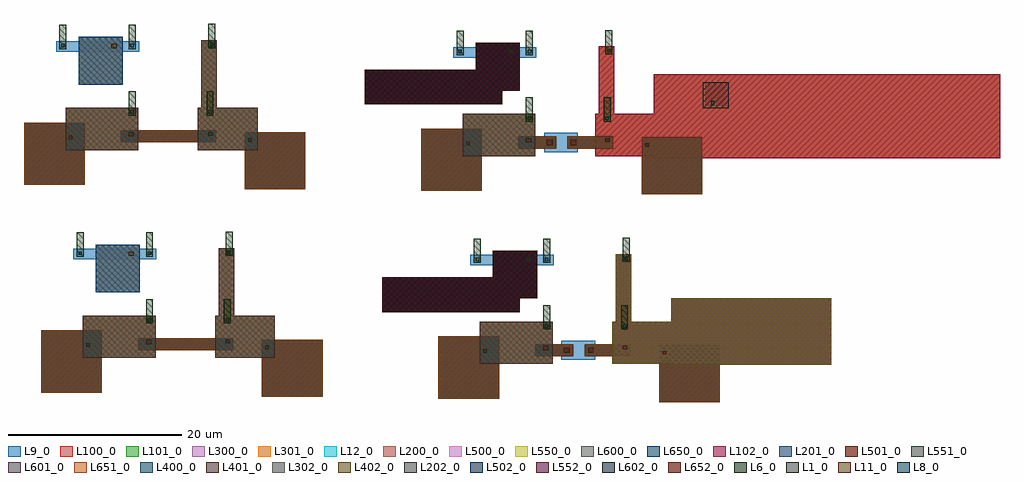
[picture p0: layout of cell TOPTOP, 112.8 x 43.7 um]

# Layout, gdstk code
import gdstk
lib = gdstk.Library(unit=1e-6, precision=1e-09)
def R(c, l, rs):  # rectangles x0, y0, x1, y1
    for r in rs: c.add(gdstk.rectangle(r[:2], r[2:], *l))
def P(c, l, *ps):  # polygons
    for p in ps: c.add(gdstk.Polygon(p, *l))
L1_0 = (1, 0)
L6_0 = (6, 0)
L8_0 = (8, 0)
L9_0 = (9, 0)
L11_0 = (11, 0)
L12_0 = (12, 0)
L100_0 = (100, 0)
L101_0 = (101, 0)
L102_0 = (102, 0)
L200_0 = (200, 0)
L201_0 = (201, 0)
L202_0 = (202, 0)
L300_0 = (300, 0)
L301_0 = (301, 0)
L302_0 = (302, 0)
L400_0 = (400, 0)
L401_0 = (401, 0)
L402_0 = (402, 0)
L500_0 = (500, 0)
L501_0 = (501, 0)
L502_0 = (502, 0)
L550_0 = (550, 0)
L551_0 = (551, 0)
L552_0 = (552, 0)
L600_0 = (600, 0)
L601_0 = (601, 0)
L602_0 = (602, 0)
L650_0 = (650, 0)
L651_0 = (651, 0)
L652_0 = (652, 0)

trans = lib.new_cell('TRANS')
R(trans, L6_0, [(0,0,0.8,2.8)])
R(trans, L8_0, [(0.2,0.2,0.6,0.6)])

top = lib.new_cell('TOP')
R(top, L9_0, [(38.6,-4.7,47,0.2), (53.9,-4.7,60.8,0.2), (48,-4.2,51.9,-2), (-7.3,-4,1.1,0.9), (8,-4,14.9,0.9), (54.3,-1.2,56.1,8), (8.4,-0.5,10.2,8.7), (37.5,6.7,47.1,7.9), (-8.4,7.4,1.2,8.6)])
R(top, L11_0, [(59.7,-3.6,60.1,-3.2), (39,-3.4,39.4,-3), (48.3,-3.4,49,-2.8), (51.1,-3.4,51.7,-2.8), (45.9,-3.1,46.5,-2.6), (13.8,-3,14.2,-2.6), (55.1,-3,55.6,-2.6), (-6.9,-2.7,-6.5,-2.3), (0,-2.4,0.6,-1.9), (9.2,-2.3,9.7,-1.9), (43.9,7.1,44.5,7.6), (-2,7.8,-1.4,8.3)])
R(top, L12_0, [(59.3,-9.1,66.3,-2.5), (33.8,-8.7,40.8,-1.5), (13.4,-8.5,20.4,-1.9), (-12.1,-8,-5.1,-0.8), (45,-3.8,49.4,-2.4), (50.7,-3.8,56,-2.4), (-0.9,-3.1,10.1,-1.7), (27.3,1.3,43.2,5.3), (40.1,2.9,45.2,8.4), (-5.8,3.6,-0.7,9.1)])
R(top, L100_0, [(38.6,-4.7,47,0.2), (-7.3,-4,1.1,0.9)])
P(top, L100_0, [(8,-4),(8,0.9),(8.4,0.9),(8.4,8.7),(10.2,8.7),(10.2,0.9),(14.9,0.9),(14.9,-4)])
R(top, L101_0, [(38.6,-4.7,47,0.2), (-7.3,-4,1.1,0.9)])
P(top, L101_0, [(8,-4),(8,0.9),(8.4,0.9),(8.4,8.7),(10.2,8.7),(10.2,0.9),(14.9,0.9),(14.9,-4)])
R(top, L200_0, [(13.4,-8.5,20.4,-1.9), (-12.1,-8,-5.1,-0.8), (-0.9,-3.1,10.1,-1.7), (-5.8,3.6,-0.7,9.1)])
P(top, L200_0, [(27.3,1.3),(27.3,5.3),(40.1,5.3),(40.1,8.4),(45.2,8.4),(45.2,2.9),(43.2,2.9),(43.2,1.3)])
R(top, L201_0, [(13.4,-8.5,20.4,-1.9), (-12.1,-8,-5.1,-0.8), (-0.9,-3.1,10.1,-1.7)])
P(top, L201_0, [(27.3,1.3),(27.3,5.3),(40.1,5.3),(40.1,8.4),(45.2,8.4),(45.2,2.9),(43.2,2.9),(43.2,1.3)])
P(top, L202_0, [(27.3,1.3),(27.3,5.3),(40.1,5.3),(40.1,8.4),(45.2,8.4),(45.2,2.9),(43.2,2.9),(43.2,1.3)])
R(top, L300_0, [(38.6,-4.7,47,0.2), (-7.3,-4,1.1,0.9)])
P(top, L300_0, [(8,-4),(8,0.9),(8.4,0.9),(8.4,8.7),(10.2,8.7),(10.2,0.9),(14.9,0.9),(14.9,-4)])
R(top, L301_0, [(38.6,-4.7,47,0.2), (-7.3,-4,1.1,0.9)])
P(top, L301_0, [(8,-4),(8,0.9),(8.4,0.9),(8.4,8.7),(10.2,8.7),(10.2,0.9),(14.9,0.9),(14.9,-4)])
R(top, L400_0, [(38.6,-4.7,47,0.2), (-7.3,-4,1.1,0.9)])
P(top, L400_0, [(8,-4),(8,0.9),(8.4,0.9),(8.4,8.7),(10.2,8.7),(10.2,0.9),(14.9,0.9),(14.9,-4)])
R(top, L401_0, [(38.6,-4.7,47,0.2), (-7.3,-4,1.1,0.9)])
P(top, L401_0, [(8,-4),(8,0.9),(8.4,0.9),(8.4,8.7),(10.2,8.7),(10.2,0.9),(14.9,0.9),(14.9,-4)])
R(top, L500_0, [(13.4,-8.5,20.4,-1.9), (-12.1,-8,-5.1,-0.8), (-0.9,-3.1,10.1,-1.7), (-5.8,3.6,-0.7,9.1)])
P(top, L500_0, [(27.3,1.3),(27.3,5.3),(40.1,5.3),(40.1,8.4),(45.2,8.4),(45.2,2.9),(43.2,2.9),(43.2,1.3)])
R(top, L501_0, [(13.4,-8.5,20.4,-1.9), (-12.1,-8,-5.1,-0.8), (-0.9,-3.1,10.1,-1.7)])
P(top, L501_0, [(27.3,1.3),(27.3,5.3),(40.1,5.3),(40.1,8.4),(45.2,8.4),(45.2,2.9),(43.2,2.9),(43.2,1.3)])
P(top, L502_0, [(27.3,1.3),(27.3,5.3),(40.1,5.3),(40.1,8.4),(45.2,8.4),(45.2,2.9),(43.2,2.9),(43.2,1.3)])
R(top, L550_0, [(13.4,-8.5,20.4,-1.9), (-12.1,-8,-5.1,-0.8), (-0.9,-3.1,10.1,-1.7), (-5.8,3.6,-0.7,9.1)])
P(top, L550_0, [(27.3,1.3),(27.3,5.3),(40.1,5.3),(40.1,8.4),(45.2,8.4),(45.2,2.9),(43.2,2.9),(43.2,1.3)])
R(top, L551_0, [(13.4,-8.5,20.4,-1.9), (-12.1,-8,-5.1,-0.8), (-0.9,-3.1,10.1,-1.7)])
P(top, L551_0, [(27.3,1.3),(27.3,5.3),(40.1,5.3),(40.1,8.4),(45.2,8.4),(45.2,2.9),(43.2,2.9),(43.2,1.3)])
P(top, L552_0, [(27.3,1.3),(27.3,5.3),(40.1,5.3),(40.1,8.4),(45.2,8.4),(45.2,2.9),(43.2,2.9),(43.2,1.3)])
R(top, L600_0, [(13.4,-8.5,20.4,-1.9), (-12.1,-8,-5.1,-0.8), (-0.9,-3.1,10.1,-1.7), (-5.8,3.6,-0.7,9.1)])
P(top, L600_0, [(27.3,1.3),(27.3,5.3),(40.1,5.3),(40.1,8.4),(45.2,8.4),(45.2,2.9),(43.2,2.9),(43.2,1.3)])
R(top, L601_0, [(13.4,-8.5,20.4,-1.9), (-12.1,-8,-5.1,-0.8), (-0.9,-3.1,10.1,-1.7)])
P(top, L601_0, [(27.3,1.3),(27.3,5.3),(40.1,5.3),(40.1,8.4),(45.2,8.4),(45.2,2.9),(43.2,2.9),(43.2,1.3)])
P(top, L602_0, [(27.3,1.3),(27.3,5.3),(40.1,5.3),(40.1,8.4),(45.2,8.4),(45.2,2.9),(43.2,2.9),(43.2,1.3)])
R(top, L650_0, [(13.4,-8.5,20.4,-1.9), (-12.1,-8,-5.1,-0.8), (-0.9,-3.1,10.1,-1.7), (-5.8,3.6,-0.7,9.1)])
P(top, L650_0, [(27.3,1.3),(27.3,5.3),(40.1,5.3),(40.1,8.4),(45.2,8.4),(45.2,2.9),(43.2,2.9),(43.2,1.3)])
R(top, L651_0, [(13.4,-8.5,20.4,-1.9), (-12.1,-8,-5.1,-0.8), (-0.9,-3.1,10.1,-1.7)])
P(top, L651_0, [(27.3,1.3),(27.3,5.3),(40.1,5.3),(40.1,8.4),(45.2,8.4),(45.2,2.9),(43.2,2.9),(43.2,1.3)])
P(top, L652_0, [(27.3,1.3),(27.3,5.3),(40.1,5.3),(40.1,8.4),(45.2,8.4),(45.2,2.9),(43.2,2.9),(43.2,1.3)])
top.add(gdstk.Reference(trans, (0,0)))
top.add(gdstk.Reference(trans, (9,0)))
top.add(gdstk.Reference(trans, (0,7.7)))
top.add(gdstk.Reference(trans, (9.2,7.8)))
top.add(gdstk.Reference(trans, (-8,7.7)))
top.add(gdstk.Reference(trans, (45.9,-0.7)))
top.add(gdstk.Reference(trans, (54.9,-0.7)))
top.add(gdstk.Reference(trans, (45.9,7)))
top.add(gdstk.Reference(trans, (55.1,7.1)))
top.add(gdstk.Reference(trans, (37.9,7)))

toptop = lib.new_cell('TOPTOP')
R(toptop, L1_0, [(65.85,25.45,68.85,28.45)])
R(toptop, L8_0, [(66.8,25.8,67.2,26.3)])
R(toptop, L9_0, [(62.2,-4.2,80.7,3.5), (60.2,19.7,100.2,29.4)])
P(toptop, L100_0, [(60.2,19.7),(60.2,19.9),(53.4,19.9),(53.4,24.8),(53.8,24.8),(53.8,32.6),(55.6,32.6),(55.6,24.8),(60.2,24.8),(60.2,29.4),(100.2,29.4),(100.2,19.7)],
  [(62.2,-4.2),(62.2,-4.1),(55.4,-4.1),(55.4,0.8),(55.8,0.8),(55.8,8.6),(57.6,8.6),(57.6,0.8),(62.2,0.8),(62.2,3.5),(80.7,3.5),(80.7,-4.2)])
P(toptop, L101_0, [(60.2,19.7),(60.2,19.9),(53.4,19.9),(53.4,24.8),(53.8,24.8),(53.8,32.6),(55.6,32.6),(55.6,24.8),(60.2,24.8),(60.2,29.4),(100.2,29.4),(100.2,19.7)],
  [(62.2,-4.2),(62.2,-4.1),(55.4,-4.1),(55.4,0.8),(55.8,0.8),(55.8,8.6),(57.6,8.6),(57.6,0.8),(62.2,0.8),(62.2,3.5),(80.7,3.5),(80.7,-4.2)])
P(toptop, L102_0, [(60.2,19.7),(60.2,19.9),(53.4,19.9),(53.4,24.8),(53.8,24.8),(53.8,32.6),(55.6,32.6),(55.6,24.8),(60.2,24.8),(60.2,29.4),(100.2,29.4),(100.2,19.7)],
  [(62.2,-4.2),(62.2,-4.1),(55.4,-4.1),(55.4,0.8),(55.8,0.8),(55.8,8.6),(57.6,8.6),(57.6,0.8),(62.2,0.8),(62.2,3.5),(80.7,3.5),(80.7,-4.2)])
R(toptop, L200_0, [(60.8,-8.5,67.8,-1.9), (35.3,-8.1,42.3,-0.9), (46.5,-3.2,50.9,-1.8), (52.2,-3.2,57.5,-1.8), (58.8,15.5,65.8,22.1), (33.3,15.9,40.3,23.1), (44.5,20.8,48.9,22.2), (50.2,20.8,55.5,22.2)])
R(toptop, L201_0, [(60.8,-8.5,67.8,-1.9), (35.3,-8.1,42.3,-0.9), (46.5,-3.2,50.9,-1.8), (52.2,-3.2,57.5,-1.8), (58.8,15.5,65.8,22.1), (33.3,15.9,40.3,23.1), (44.5,20.8,48.9,22.2), (50.2,20.8,55.5,22.2)])
P(toptop, L300_0, [(60.2,19.7),(60.2,19.9),(53.4,19.9),(53.4,24.8),(53.8,24.8),(53.8,32.6),(55.6,32.6),(55.6,24.8),(60.2,24.8),(60.2,29.4),(100.2,29.4),(100.2,19.7)],
  [(62.2,-4.2),(62.2,-4.1),(55.4,-4.1),(55.4,0.8),(55.8,0.8),(55.8,8.6),(57.6,8.6),(57.6,0.8),(62.2,0.8),(62.2,3.5),(80.7,3.5),(80.7,-4.2)])
P(toptop, L301_0, [(60.2,19.7),(60.2,19.9),(53.4,19.9),(53.4,24.8),(53.8,24.8),(53.8,32.6),(55.6,32.6),(55.6,24.8),(60.2,24.8),(60.2,29.4),(100.2,29.4),(100.2,19.7)],
  [(62.2,-4.2),(62.2,-4.1),(55.4,-4.1),(55.4,0.8),(55.8,0.8),(55.8,8.6),(57.6,8.6),(57.6,0.8),(62.2,0.8),(62.2,3.5),(80.7,3.5),(80.7,-4.2)])
P(toptop, L302_0, [(62.2,-4.2),(62.2,-4.1),(55.4,-4.1),(55.4,0.8),(55.8,0.8),(55.8,8.6),(57.6,8.6),(57.6,0.8),(62.2,0.8),(62.2,3.5),(80.7,3.5),(80.7,-4.2)])
P(toptop, L400_0, [(62.2,-4.2),(62.2,-4.1),(55.4,-4.1),(55.4,0.8),(55.8,0.8),(55.8,8.6),(57.6,8.6),(57.6,0.8),(62.2,0.8),(62.2,3.5),(80.7,3.5),(80.7,-4.2)])
P(toptop, L401_0, [(62.2,-4.2),(62.2,-4.1),(55.4,-4.1),(55.4,0.8),(55.8,0.8),(55.8,8.6),(57.6,8.6),(57.6,0.8),(62.2,0.8),(62.2,3.5),(80.7,3.5),(80.7,-4.2)])
P(toptop, L402_0, [(62.2,-4.2),(62.2,-4.1),(55.4,-4.1),(55.4,0.8),(55.8,0.8),(55.8,8.6),(57.6,8.6),(57.6,0.8),(62.2,0.8),(62.2,3.5),(80.7,3.5),(80.7,-4.2)])
R(toptop, L500_0, [(60.8,-8.5,67.8,-1.9), (35.3,-8.1,42.3,-0.9), (46.5,-3.2,50.9,-1.8), (52.2,-3.2,57.5,-1.8), (58.8,15.5,65.8,22.1), (33.3,15.9,40.3,23.1), (44.5,20.8,48.9,22.2), (50.2,20.8,55.5,22.2)])
R(toptop, L501_0, [(60.8,-8.5,67.8,-1.9), (35.3,-8.1,42.3,-0.9), (46.5,-3.2,50.9,-1.8), (52.2,-3.2,57.5,-1.8), (58.8,15.5,65.8,22.1), (33.3,15.9,40.3,23.1), (44.5,20.8,48.9,22.2), (50.2,20.8,55.5,22.2)])
R(toptop, L550_0, [(60.8,-8.5,67.8,-1.9), (35.3,-8.1,42.3,-0.9), (46.5,-3.2,50.9,-1.8), (52.2,-3.2,57.5,-1.8), (58.8,15.5,65.8,22.1), (33.3,15.9,40.3,23.1), (44.5,20.8,48.9,22.2), (50.2,20.8,55.5,22.2)])
R(toptop, L551_0, [(60.8,-8.5,67.8,-1.9), (35.3,-8.1,42.3,-0.9), (46.5,-3.2,50.9,-1.8), (52.2,-3.2,57.5,-1.8), (58.8,15.5,65.8,22.1), (33.3,15.9,40.3,23.1), (44.5,20.8,48.9,22.2), (50.2,20.8,55.5,22.2)])
R(toptop, L600_0, [(60.8,-8.5,67.8,-1.9), (35.3,-8.1,42.3,-0.9), (46.5,-3.2,50.9,-1.8), (52.2,-3.2,57.5,-1.8), (58.8,15.5,65.8,22.1), (33.3,15.9,40.3,23.1), (44.5,20.8,48.9,22.2), (50.2,20.8,55.5,22.2)])
R(toptop, L601_0, [(60.8,-8.5,67.8,-1.9), (35.3,-8.1,42.3,-0.9), (46.5,-3.2,50.9,-1.8), (52.2,-3.2,57.5,-1.8), (58.8,15.5,65.8,22.1), (33.3,15.9,40.3,23.1), (44.5,20.8,48.9,22.2), (50.2,20.8,55.5,22.2)])
R(toptop, L650_0, [(60.8,-8.5,67.8,-1.9), (35.3,-8.1,42.3,-0.9), (46.5,-3.2,50.9,-1.8), (52.2,-3.2,57.5,-1.8), (58.8,15.5,65.8,22.1), (33.3,15.9,40.3,23.1), (44.5,20.8,48.9,22.2), (50.2,20.8,55.5,22.2)])
R(toptop, L651_0, [(60.8,-8.5,67.8,-1.9), (35.3,-8.1,42.3,-0.9), (46.5,-3.2,50.9,-1.8), (52.2,-3.2,57.5,-1.8), (58.8,15.5,65.8,22.1), (33.3,15.9,40.3,23.1), (44.5,20.8,48.9,22.2), (50.2,20.8,55.5,22.2)])
toptop.add(gdstk.Reference(top, (1.5,0.6)))
toptop.add(gdstk.Reference(top, (-0.5,24.6)))

lib.write_gds('TOPTOP.gds')
